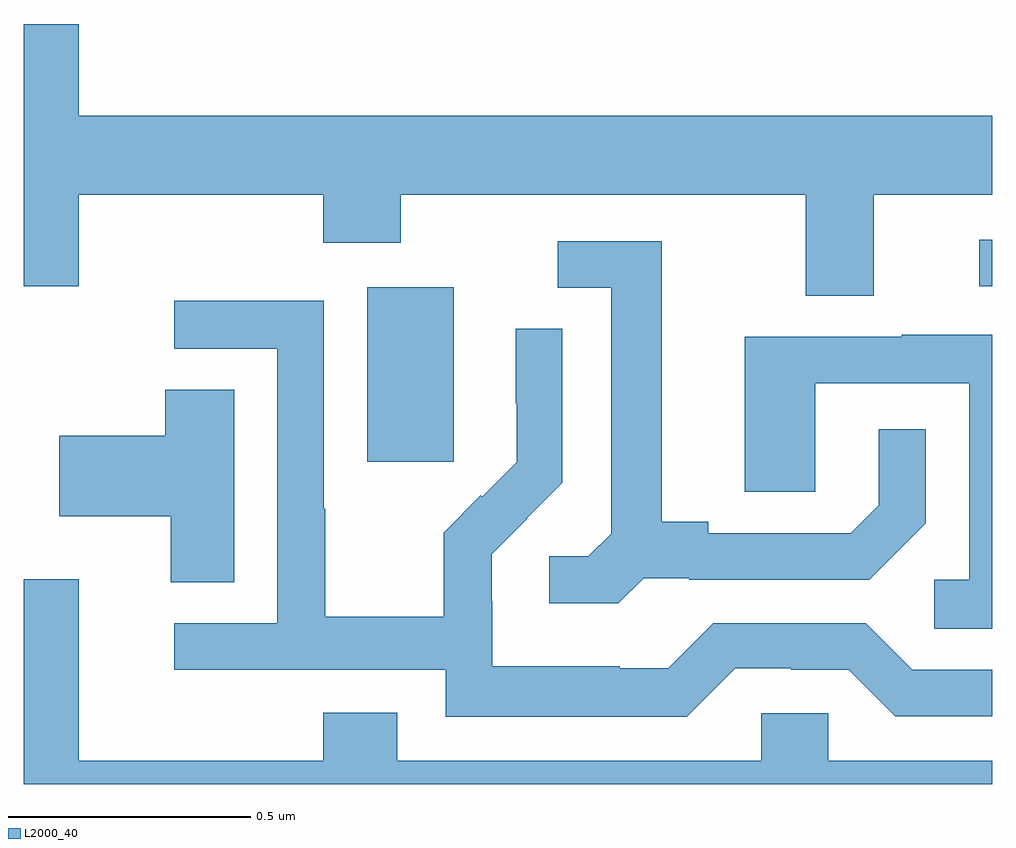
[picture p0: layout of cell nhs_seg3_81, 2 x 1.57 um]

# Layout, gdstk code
import gdstk
lib = gdstk.Library(unit=1e-6, precision=1e-09)
def R(c, l, rs):  # rectangles x0, y0, x1, y1
    for r in rs: c.add(gdstk.rectangle(r[:2], r[2:], *l))
def P(c, l, *ps):  # polygons
    for p in ps: c.add(gdstk.Polygon(p, *l))
L2000_40 = (2000, 40)

nhs_seg3_81 = lib.new_cell('nhs_seg3_81')
R(nhs_seg3_81, L2000_40, [(112.709,667.065,112.888,667.426), (113.973,667.428,114,667.524)])
P(nhs_seg3_81, L2000_40, [(113.755,667.616),(114,667.616),(114,667.78),(112.114,667.78),(112.114,667.969),(112,667.969),(112,667.428),(112.114,667.428),(112.114,667.616),(112.619,667.616),(112.619,667.517),(112.779,667.517),(112.779,667.616),(113.615,667.616),(113.615,667.408),(113.755,667.408)],
  [(113.28,666.825),(113.374,666.825),(113.374,666.822),(113.746,666.822),(113.862,666.938),(113.862,667.132),(113.765,667.132),(113.765,666.975),(113.708,666.918),(113.413,666.918),(113.413,666.941),(113.317,666.941),(113.317,667.521),(113.103,667.521),(113.103,667.425),(113.213,667.425),(113.213,666.917),(113.166,666.87),(113.085,666.87),(113.085,666.773),(113.228,666.773)],
  [(113.469,666.639),(113.585,666.639),(113.585,666.636),(113.703,666.636),(113.799,666.54),(114,666.54),(114,666.636),(113.835,666.636),(113.739,666.732),(113.424,666.732),(113.331,666.639),(113.231,666.639),(113.231,666.643),(112.968,666.643),(112.968,666.777),(112.966,666.777),(112.966,666.874),(113.04,666.948),(113.039,666.949),(113.112,667.022),(113.112,667.34),(113.016,667.34),(113.016,667.186),(113.018,667.186),(113.018,667.064),(112.947,666.993),(112.944,666.996),(112.867,666.919),(112.867,666.745),(112.623,666.745),(112.623,666.968),(112.62,666.968),(112.62,667.398),(112.311,667.398),(112.311,667.299),(112.524,667.299),(112.524,666.732),(112.311,666.732),(112.311,666.636),(112.872,666.636),(112.872,666.539),(113.369,666.539)],
  [(114,667.327),(113.813,667.327),(113.813,667.323),(113.489,667.323),(113.489,667.003),(113.634,667.003),(113.634,667.227),(113.952,667.227),(113.952,666.822),(113.88,666.822),(113.88,666.721),(114,666.721)],
  [(112.435,667.214),(112.292,667.214),(112.292,667.119),(112.074,667.119),(112.074,666.953),(112.304,666.953),(112.304,666.817),(112.435,666.817)],
  [(114,666.448),(113.661,666.448),(113.661,666.546),(113.523,666.546),(113.523,666.448),(112.771,666.448),(112.771,666.547),(112.619,666.547),(112.619,666.448),(112.114,666.448),(112.114,666.823),(112,666.823),(112,666.4),(114,666.4)])

lib.write_gds('nhs_seg3_81.gds')
